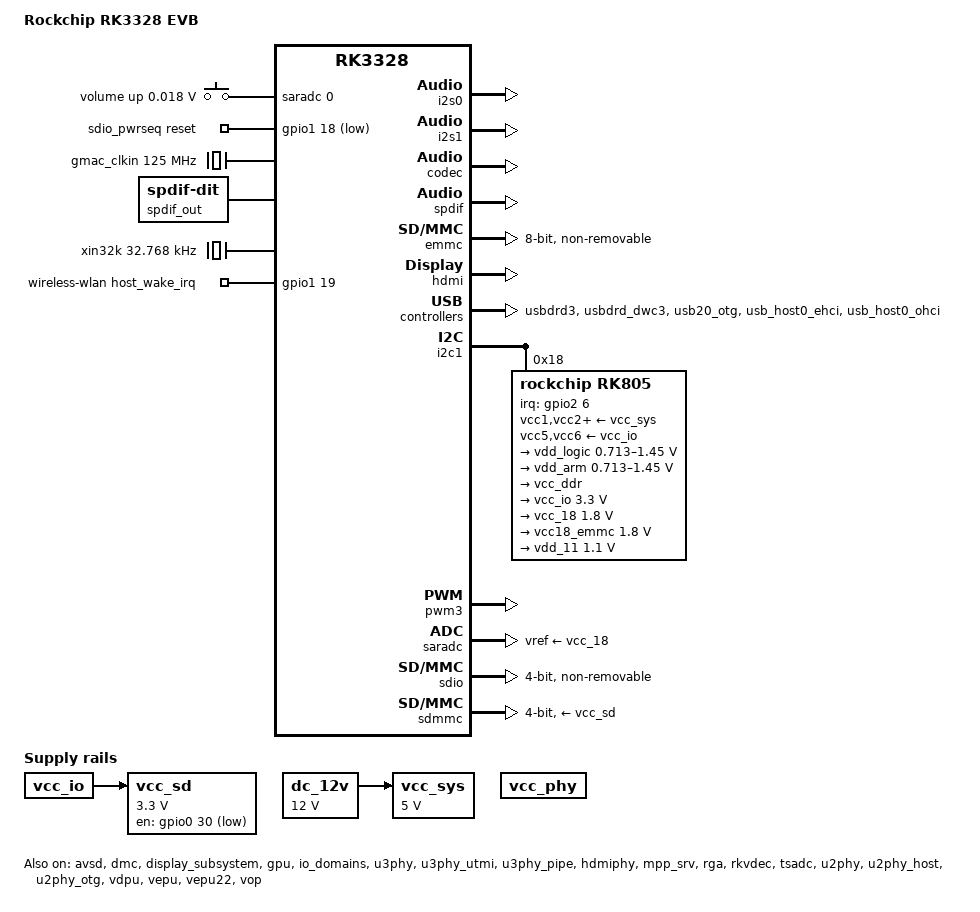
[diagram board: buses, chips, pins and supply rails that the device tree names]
// SPDX-License-Identifier: (GPL-2.0+ OR MIT)
/*
 * Copyright (c) 2017 Fuzhou Rockchip Electronics Co., Ltd
 */

/dts-v1/;
#include "rk3328.dtsi"
#include <dt-bindings/input/input.h>

/ {
	model = "Rockchip RK3328 EVB";
	compatible = "rockchip,rk3328-evb", "rockchip,rk3328";

	chosen {
		stdout-path = "serial2:1500000n8";
	};

	adc-keys {
		compatible = "adc-keys";
		io-channels = <&saradc 0>;
		io-channel-names = "buttons";
		poll-interval = <100>;
		keyup-threshold-microvolt = <1800000>;

		vol-up-key {
			linux,code = <KEY_VOLUMEUP>;
			label = "volume up";
			press-threshold-microvolt = <18000>;
		};
	};

	dc_12v: dc-12v {
		compatible = "regulator-fixed";
		regulator-name = "dc_12v";
		regulator-always-on;
		regulator-boot-on;
		regulator-min-microvolt = <12000000>;
		regulator-max-microvolt = <12000000>;
	};

	reserved-memory {
		#address-cells = <2>;
		#size-cells = <2>;
		ranges;

		drm_logo: drm-logo@00000000 {
			compatible = "rockchip,drm-logo";
			reg = <0x0 0x0 0x0 0x0>;
		};
	};

	sdio_pwrseq: sdio-pwrseq {
		compatible = "mmc-pwrseq-simple";
		pinctrl-names = "default";
		pinctrl-0 = <&wifi_enable_h>;

		/*
		 * On the module itself this is one of these (depending
		 * on the actual card populated):
		 * - SDIO_RESET_L_WL_REG_ON
		 * - PDN (power down when low)
		 */
		reset-gpios = <&gpio1 18 GPIO_ACTIVE_LOW>;
	};

	fiq-debugger {
		compatible = "rockchip,fiq-debugger";
		rockchip,serial-id = <2>;
		rockchip,signal-irq = <159>;
		rockchip,wake-irq = <0>;
		/* If enable uart uses irq instead of fiq */
		rockchip,irq-mode-enable = <0>;
		rockchip,baudrate = <1500000>;  /* Only 115200 and 1500000 */
		interrupts = <GIC_SPI 127 IRQ_TYPE_LEVEL_LOW>;
		status = "okay";
	};

	vcc_sd: sdmmc-regulator {
		compatible = "regulator-fixed";
		gpio = <&gpio0 30 GPIO_ACTIVE_LOW>;
		pinctrl-names = "default";
		pinctrl-0 = <&sdmmc0m1_gpio>;
		regulator-name = "vcc_sd";
		regulator-min-microvolt = <3300000>;
		regulator-max-microvolt = <3300000>;
		vin-supply = <&vcc_io>;
	};

	vcc_sys: vcc-sys {
		compatible = "regulator-fixed";
		regulator-name = "vcc_sys";
		regulator-always-on;
		regulator-boot-on;
		regulator-min-microvolt = <5000000>;
		regulator-max-microvolt = <5000000>;
		vin-supply = <&dc_12v>;
	};

	gmac_clkin: external-gmac-clock {
		compatible = "fixed-clock";
		clock-frequency = <125000000>;
		clock-output-names = "gmac_clkin";
		#clock-cells = <0>;
	};

	vcc_phy: vcc-phy-regulator {
		compatible = "regulator-fixed";
		regulator-name = "vcc_phy";
		regulator-always-on;
		regulator-boot-on;
	};

	sound {
		compatible = "simple-audio-card";
		simple-audio-card,format = "i2s";
		simple-audio-card,mclk-fs = <256>;
		simple-audio-card,name = "rockchip,rk3328";
		simple-audio-card,cpu {
			sound-dai = <&i2s1>;
		};
		simple-audio-card,codec {
			sound-dai = <&codec>;
		};
	};

	hdmi-sound {
		compatible = "simple-audio-card";
		simple-audio-card,format = "i2s";
		simple-audio-card,mclk-fs = <128>;
		simple-audio-card,name = "rockchip,hdmi";
		simple-audio-card,cpu {
			sound-dai = <&i2s0>;
		};
		simple-audio-card,codec {
			sound-dai = <&hdmi>;
		};
	};

	spdif-sound {
		compatible = "simple-audio-card";
		simple-audio-card,name = "rockchip,spdif";
		simple-audio-card,cpu {
			sound-dai = <&spdif>;
		};
		simple-audio-card,codec {
			sound-dai = <&spdif_out>;
		};
	};

	spdif_out: spdif-out {
		compatible = "linux,spdif-dit";
		#sound-dai-cells = <0>;
	};

	xin32k: xin32k {
		compatible = "fixed-clock";
		clock-frequency = <32768>;
		clock-output-names = "xin32k";
		#clock-cells = <0>;
	};

	wireless-wlan {
		compatible = "wlan-platdata";
		rockchip,grf = <&grf>;
		wifi_chip_type = "ap6354";
		sdio_vref = <1800>;
		WIFI,host_wake_irq = <&gpio1 19 GPIO_ACTIVE_HIGH>;
		status = "okay";
	};
};

&avsd {
	status = "okay";
};

&i2s0 {
	#sound-dai-cells = <0>;
	rockchip,bclk-fs = <128>;
	status = "okay";
};

&i2s1 {
	#sound-dai-cells = <0>;
	status = "okay";
};

&codec {
	#sound-dai-cells = <0>;
	status = "okay";
};

&spdif {
	#sound-dai-cells = <0>;
	status = "okay";
};

&cpu0 {
	cpu-supply = <&vdd_arm>;
};

&dmc {
	center-supply = <&vdd_logic>;
	status = "okay";
};

&display_subsystem {
	logo-memory-region = <&drm_logo>;
	status = "okay";

	route {
		route_hdmi: route-hdmi {
			status = "okay";
			logo,uboot = "logo.bmp";
			logo,kernel = "logo_kernel.bmp";
			logo,mode = "fullscreen";
			charge_logo,mode = "fullscreen";
			connect = <&vop_out_hdmi>;
		};
	};
};

&emmc {
	bus-width = <8>;
	cap-mmc-highspeed;
	mmc-hs200-1_8v;
	non-removable;
	pinctrl-names = "default";
	pinctrl-0 = <&emmc_clk &emmc_cmd &emmc_bus8>;
	status = "okay";
};

&gmac2phy {
	phy-supply = <&vcc_phy>;
	clock_in_out = "output";
	assigned-clocks = <&cru SCLK_MAC2PHY_SRC>;
	assigned-clock-rate = <50000000>;
	assigned-clocks = <&cru SCLK_MAC2PHY>;
	assigned-clock-parents = <&cru SCLK_MAC2PHY_SRC>;

};

&gmac2io {
	phy-supply = <&vcc_phy>;
	phy-mode = "rgmii";
	clock_in_out = "input";
	snps,reset-gpio = <&gpio1 18 GPIO_ACTIVE_LOW>;
	snps,reset-active-low;
	snps,reset-delays-us = <0 10000 50000>;
	assigned-clocks = <&cru SCLK_MAC2IO>, <&cru SCLK_MAC2IO_EXT>;
	assigned-clock-parents = <&gmac_clkin>, <&gmac_clkin>;
	pinctrl-names = "default";
	pinctrl-0 = <&rgmiim1_pins>;
	tx_delay = <0x26>;
	rx_delay = <0x11>;
	status = "disabled";
};

&gpu {
	status = "okay";
	mali-supply = <&vdd_logic>;
};

&io_domains {
	status = "okay";

	vccio1-supply = <&vcc_io>;
	vccio2-supply = <&vcc18_emmc>;
	vccio3-supply = <&vcc_io>;
	vccio4-supply = <&vcc_18>;
	vccio5-supply = <&vcc_io>;
	vccio6-supply = <&vcc_io>;
	pmuio-supply = <&vcc_io>;
};

&u3phy {
	vbus-drv-gpios = <&gpio0 0 GPIO_ACTIVE_HIGH>;
	status = "okay";
};

&u3phy_utmi {
	status = "okay";
};

&u3phy_pipe {
	status = "okay";
};

&hdmi {
	#sound-dai-cells = <0>;
	ddc-i2c-scl-high-time-ns = <9625>;
	ddc-i2c-scl-low-time-ns = <10000>;
	status = "okay";
};

&hdmiphy {
	status = "okay";
};

&usbdrd3 {
	status = "okay";
};

&usbdrd_dwc3 {
	status = "okay";
};

&i2c1 {
	status = "okay";

	rk805: rk805@18 {
		compatible = "rockchip,rk805";
		reg = <0x18>;
		interrupt-parent = <&gpio2>;
		interrupts = <6 IRQ_TYPE_LEVEL_LOW>;
		#clock-cells = <1>;
		clock-output-names = "rk805-clkout1", "rk805-clkout2";
		gpio-controller;
		#gpio-cells = <2>;
		pinctrl-names = "default";
		pinctrl-0 = <&pmic_int_l>;
		rockchip,system-power-controller;
		wakeup-source;

		vcc1-supply = <&vcc_sys>;
		vcc2-supply = <&vcc_sys>;
		vcc3-supply = <&vcc_sys>;
		vcc4-supply = <&vcc_sys>;
		vcc5-supply = <&vcc_io>;
		vcc6-supply = <&vcc_io>;

		regulators {
			vdd_logic: DCDC_REG1 {
				regulator-name = "vdd_logic";
				regulator-min-microvolt = <712500>;
				regulator-max-microvolt = <1450000>;
				regulator-always-on;
				regulator-boot-on;
				regulator-state-mem {
					regulator-on-in-suspend;
					regulator-suspend-microvolt = <1000000>;
				};
			};

			vdd_arm: DCDC_REG2 {
				regulator-name = "vdd_arm";
				regulator-min-microvolt = <712500>;
				regulator-max-microvolt = <1450000>;
				regulator-always-on;
				regulator-boot-on;
				regulator-state-mem {
					regulator-on-in-suspend;
					regulator-suspend-microvolt = <950000>;
				};
			};

			vcc_ddr: DCDC_REG3 {
				regulator-name = "vcc_ddr";
				regulator-always-on;
				regulator-boot-on;
				regulator-state-mem {
					regulator-on-in-suspend;
				};
			};

			vcc_io: DCDC_REG4 {
				regulator-name = "vcc_io";
				regulator-min-microvolt = <3300000>;
				regulator-max-microvolt = <3300000>;
				regulator-always-on;
				regulator-boot-on;
				regulator-state-mem {
					regulator-on-in-suspend;
					regulator-suspend-microvolt = <3300000>;
				};
			};

			vcc_18: LDO_REG1 {
				regulator-name = "vcc_18";
				regulator-min-microvolt = <1800000>;
				regulator-max-microvolt = <1800000>;
				regulator-always-on;
				regulator-boot-on;
				regulator-state-mem {
					regulator-on-in-suspend;
					regulator-suspend-microvolt = <1800000>;
				};
			};

			vcc18_emmc: LDO_REG2 {
				regulator-name = "vcc18_emmc";
				regulator-min-microvolt = <1800000>;
				regulator-max-microvolt = <1800000>;
				regulator-always-on;
				regulator-boot-on;
				regulator-state-mem {
					regulator-on-in-suspend;
					regulator-suspend-microvolt = <1800000>;
				};
			};

			vdd_11: LDO_REG3 {
				regulator-name = "vdd_11";
				regulator-min-microvolt = <1100000>;
				regulator-max-microvolt = <1100000>;
				regulator-always-on;
				regulator-boot-on;
				regulator-state-mem {
					regulator-on-in-suspend;
					regulator-suspend-microvolt = <1100000>;
				};
			};
		};
	};
};

&mpp_srv {
	status = "okay";
};

&pinctrl {
	pmic {
		pmic_int_l: pmic-int-l {
			rockchip,pins = <2 RK_PA6 RK_FUNC_GPIO &pcfg_pull_up>;
		};
	};

	sdio-pwrseq {
		wifi_enable_h: wifi-enable-h {
		rockchip,pins =
			<1 18 RK_FUNC_GPIO &pcfg_pull_none>;
		};
	};
};

&pwm3 {
	status = "okay";
	compatible = "rockchip,remotectl-pwm";
	pinctrl-names = "default";
	pinctrl-0 = <&pwmir_pin>;
	remote_pwm_id = <3>;
	handle_cpu_id = <1>;
	remote_support_psci = <1>;

	ir_key1 {
		rockchip,usercode = <0x4040>;
		rockchip,key_table =
			<0xf2	KEY_REPLY>,
			<0xba	KEY_BACK>,
			<0xf4	KEY_UP>,
			<0xf1	KEY_DOWN>,
			<0xef	KEY_LEFT>,
			<0xee	KEY_RIGHT>,
			<0xbd	KEY_HOME>,
			<0xea	KEY_VOLUMEUP>,
			<0xe3	KEY_VOLUMEDOWN>,
			<0xe2	KEY_SEARCH>,
			<0xb2	KEY_POWER>,
			<0xbc	KEY_MUTE>,
			<0xec	KEY_MENU>,
			<0xbf	0x190>,
			<0xe0	0x191>,
			<0xe1	0x192>,
			<0xe9	183>,
			<0xe6	248>,
			<0xe8	185>,
			<0xe7	186>,
			<0xf0	388>,
			<0xbe	0x175>;
	};

	ir_key2 {
		rockchip,usercode = <0xff00>;
		rockchip,key_table =
			<0x39	KEY_POWER>,
			<0x73	KEY_MUTE>,
			<0xa4	KEY_PLAYPAUSE>,
			<0x75	KEY_VOLUMEDOWN>,
			<0x77	KEY_VOLUMEUP>,
			<0x7d	KEY_MENU>,
			<0xf9	KEY_HOME>,
			<0x5f	KEY_BACK>,
			<0xb9	KEY_UP>,
			<0xe9	KEY_DOWN>,
			<0xb8	KEY_LEFT>,
			<0xea	KEY_RIGHT>,
			<0xaa	KEY_REPLY>,
			<0x55	KEY_1>,
			<0x5b	KEY_2>,
			<0xf8	KEY_3>,
			<0x57	KEY_4>,
			<0xed	KEY_5>,
			<0xee	KEY_6>,
			<0x59	KEY_7>,
			<0xf1	KEY_8>,
			<0xf2	KEY_9>,
			<0xe0	KEY_BACKSPACE>,
			<0x79	KEY_0>,
			<0xa4	KEY_SETUP>;
	};

	ir_key3 {
		rockchip,usercode = <0x1dcc>;
		rockchip,key_table =
			<0xee	KEY_REPLY>,
			<0xf0	KEY_BACK>,
			<0xf8	KEY_UP>,
			<0xbb	KEY_DOWN>,
			<0xef	KEY_LEFT>,
			<0xed	KEY_RIGHT>,
			<0xfc	KEY_HOME>,
			<0xf1	KEY_VOLUMEUP>,
			<0xfd	KEY_VOLUMEDOWN>,
			<0xb7	KEY_SEARCH>,
			<0xff	KEY_POWER>,
			<0xf3	KEY_MUTE>,
			<0xbf	KEY_MENU>,
			<0xf9	0x191>,
			<0xf5	0x192>,
			<0xb3	388>,
			<0xbe	KEY_1>,
			<0xba	KEY_2>,
			<0xb2	KEY_3>,
			<0xbd	KEY_4>,
			<0xf9	KEY_5>,
			<0xb1	KEY_6>,
			<0xfc	KEY_7>,
			<0xf8	KEY_8>,
			<0xb0	KEY_9>,
			<0xb6	KEY_0>,
			<0xb5	KEY_BACKSPACE>;
	};
};

&rga {
	status = "okay";
};

&rkvdec {
	vcodec-supply = <&vdd_logic>;
	status = "okay";
};

&rkvdec_mmu {
	status = "okay";
};

&rockchip_suspend {
	status = "okay";
	rockchip,virtual-poweroff = <1>;
};

&saradc {
	status = "okay";
	vref-supply = <&vcc_18>;
};

&sdio {
	bus-width = <4>;
	cap-sd-highspeed;
	cap-sdio-irq;
	keep-power-in-suspend;
	max-frequency = <150000000>;
	mmc-pwrseq = <&sdio_pwrseq>;
	non-removable;
	pinctrl-names = "default";
	pinctrl-0 = <&sdmmc1_bus4 &sdmmc1_cmd &sdmmc1_clk>;
	status = "okay";
};

&sdmmc {
	bus-width = <4>;
	cap-mmc-highspeed;
	cap-sd-highspeed;
	disable-wp;
	max-frequency = <150000000>;
	pinctrl-names = "default";
	pinctrl-0 = <&sdmmc0_clk &sdmmc0_cmd &sdmmc0_dectn &sdmmc0_bus4>;
	vmmc-supply = <&vcc_sd>;
	status = "okay";
};

&tsadc {
	status = "okay";
};

&u2phy {
	status = "okay";
};

&u2phy_host {
	status = "okay";
};

&u2phy_otg {
	status = "okay";
};

&usb20_otg {
	status = "okay";
};

&usb_host0_ehci {
	status = "okay";
};

&usb_host0_ohci {
	status = "okay";
};

&vdpu {
	status = "okay";
};

&vpu_mmu {
	status = "okay";
};

&vepu {
	status = "okay";
};

&vepu_mmu {
	status = "okay";
};

&vepu22 {
	status = "okay";
};

&vepu22_mmu {
	status = "okay";
};

&vop {
	status = "okay";
};

&vop_mmu {
	status = "okay";
};
